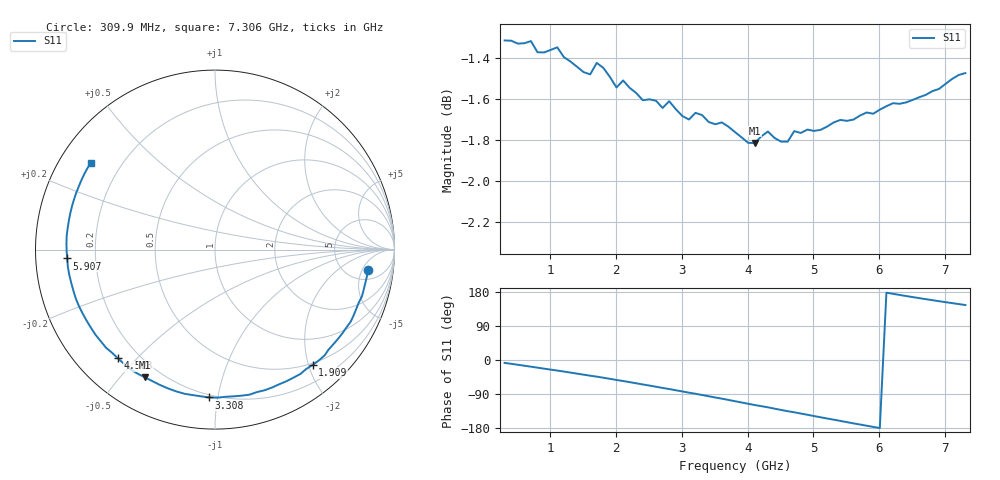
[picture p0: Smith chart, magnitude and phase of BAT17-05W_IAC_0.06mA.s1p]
! Infineon Technologies  Discrete & RF Semiconductors
! BAT17-05W
! IAC = 0.06 mA
! One-Port S-Parameters
# Hz  S  MA  R  50
!f  S11
!Hz  Mag  Ang
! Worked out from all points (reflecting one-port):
!   71 points, 309.9 MHz to 7.306 GHz, reference 50 ohm
!   lowest |S11| = -1.8 dB at 4.108 GHz (marker M1), VSWR 9.61, Z = 7 - j29.1 ohm
!   phase of S11 starts at -8 deg and turns -207 deg over the sweep
!   S11 on the Smith chart (normalised r, x): 309.9 MHz: 7.47, -6.52; 1.909 GHz: 0.47, -2.07; 3.308 GHz: 0.18, -0.94; 4.508 GHz: 0.12, -0.44; 5.907 GHz: 0.10, -0.03; 7.306 GHz: 0.09, +0.31
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3.0985e8  0.8594 -7.6
7.0965e8  0.8591 -17.6
1.10945e9  0.8561 -27.9
1.2094e9  0.8515 -30.5
1.70915e9  0.8487 -43.9
1.90905e9  0.8421 -49.7
2.10895e9  0.8404 -55.5
2.30885e9  0.8345 -61.5
2.6087e9  0.8309 -70.5
2.8086e9  0.8307 -76.6
3.0085e9  0.8238 -83.0
3.30835e9  0.8243 -92.3
3.6082e9  0.8209 -102.0
3.8081e9  0.8165 -108.7
4.10795e9  0.8115 -118.8
4.30785e9  0.8167 -124.8
4.50775e9  0.8121 -131.8
4.70765e9  0.8169 -137.9
5.0075e9  0.817 -147.9
5.2074e9  0.819 -154.4
5.4073e9  0.822 -160.7
5.6072e9  0.8222 -167.2
5.90705e9  0.8249 -176.6
6.2069e9  0.8298 174.7
6.50675e9  0.8313 166.0
6.8066e9  0.8354 157.9
7.10645e9  0.8412 150.1
7.30635e9  0.8439 145.0
